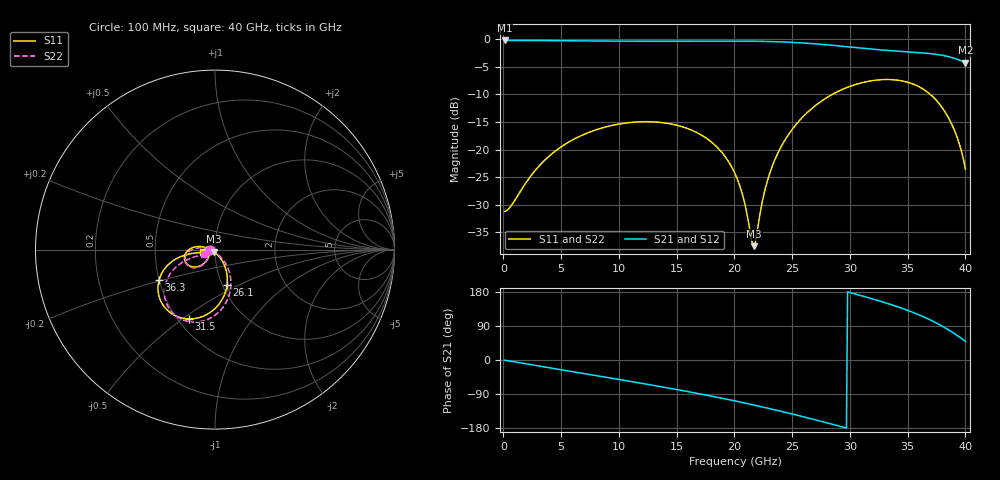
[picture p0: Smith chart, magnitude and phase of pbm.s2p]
! C_s8_nfp: physics-based via model (prototype), ports at the via
# Hz S RI R 50
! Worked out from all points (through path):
!   400 points, 100 MHz to 40 GHz, reference 50 ohm
!   highest |S21| = -0.24 dB at 100 MHz (marker M1); lowest = -4.3 dB at 40 GHz (marker M2)
!   group delay of S21, straight-line fit = 19.4 ps
!   lowest |S11| = -37.5 dB at 21.7 GHz (marker M3), VSWR 1.03, Z = 49.3 - j1.14 ohm
!   |S11| at or under -10 dB: start of sweep to 28.48 GHz; 36.95 GHz to end of sweep
!   |S22| runs from -37.4 to -7.3 dB; largest |S21 - S12| = 0
!   S11 on the Smith chart (normalised r, x): 100 MHz: 0.95, -0.00; 26.1 GHz: 1.05, -0.43; 31.5 GHz: 0.57, -0.53; 36.3 GHz: 0.50, -0.19; 40 GHz: 0.88, -0.03
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1e8  -0.0274 -0.00193  0.9725 -0.00868  0.9725 -0.00868  -0.0274 -0.00194
3.5e9  -0.0482 -0.0623  0.9231 -0.298  0.9231 -0.298  -0.0472 -0.063
6.8e9  -0.096 -0.0946  0.7923 -0.5498  0.7923 -0.5498  -0.0931 -0.0975
1.34e10  -0.1704 -0.0477  0.3404 -0.8938  0.3404 -0.8938  -0.1673 -0.0577
1.75e10  -0.1278 0.00979  -0.0375 -0.9585  -0.0375 -0.9585  -0.1282 -0.000118
1.9e10  -0.0903 0.0172  -0.1888 -0.9416  -0.1888 -0.9416  -0.0914 0.00953
2.01e10  -0.0575 0.013  -0.3015 -0.9117  -0.3015 -0.9117  -0.0584 0.00785
2.08e10  -0.0353 0.0052  -0.3727 -0.8842  -0.3727 -0.8842  -0.0356 0.00187
2.15e10  -0.013 -0.00715  -0.4428 -0.8496  -0.4428 -0.8496  -0.0123 -0.00843
2.17e10  -0.00672 -0.0115  -0.4625 -0.8384  -0.4625 -0.8384  -0.00564 -0.0122
2.25e10  0.0173 -0.033  -0.5391 -0.7876  -0.5391 -0.7876  0.0204 -0.0312
2.33e10  0.0384 -0.0606  -0.6111 -0.7272  -0.6111 -0.7272  0.0443 -0.0565
2.45e10  0.0611 -0.1125  -0.7068 -0.6194  -0.7068 -0.6194  0.0727 -0.1053
2.61e10  0.0672 -0.1949  -0.8035 -0.4484  -0.8035 -0.4484  0.0889 -0.186
2.67e10  0.0607 -0.2273  -0.8288 -0.3782  -0.8288 -0.3782  0.0868 -0.2187
2.91e10  -0.0142 -0.3408  -0.863 -0.0823  -0.863 -0.0823  0.0291 -0.3399
3.15e10  -0.1468 -0.386  -0.793 0.2078  -0.793 0.2078  -0.0923 -0.4026
3.34e10  -0.2541 -0.3476  -0.6673 0.4193  -0.6673 0.4193  -0.2007 -0.3809
3.63e10  -0.3116 -0.1697  -0.3168 0.6799  -0.3168 0.6799  -0.2808 -0.2171
3.86e10  -0.1849 -0.0366  0.1391 0.6778  0.1391 0.6778  -0.1761 -0.0673
3.94e10  -0.1174 -0.0198  0.3007 0.5779  0.3007 0.5779  -0.1123 -0.0399
4e10  -0.0647 -0.0153  0.3981 0.4632  0.3981 0.4632  -0.0612 -0.0265
